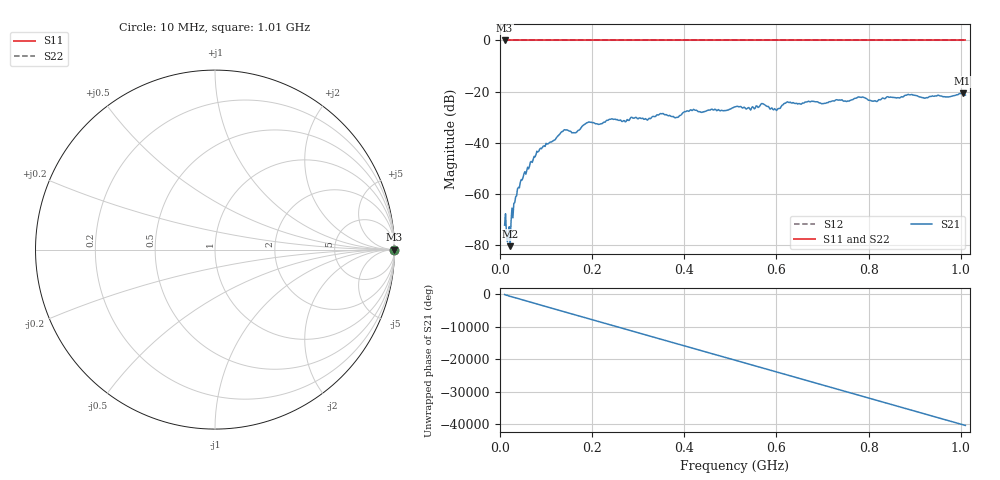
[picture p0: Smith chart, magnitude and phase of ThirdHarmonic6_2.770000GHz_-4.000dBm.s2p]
! 8/17/2025 7:02:24 AM
! C:\ANRITSUVNA\TEMP\TEMP.S2P
! CHANNEL.1
! TR.MEASUREMENT
! RAW.DATA
! RF.CORRECTION.OFF
! AVERAGING.OFF
! IF.BANDWIDTH: 5KHZ
! SWEEPTYPE:  FREQ.SWEEP(Linear)
! Reference Plane Port Info
! PORT:  PORT1  PORT2
! DISTANCE:  0  m  0  m
! TIME:  0  s  0  s
! PHASE.OFFSET:  0  deg.  0  deg.
! LOSS:  0  dB  0  dB
! REF.LOSS:  0  dB  0  dB
! REF.FREQ:  0  Hz  0  Hz
! Power Info
! POWER:  -20  dBm  -20  dBm
! EFF.POWER:  -20  dBm  -20  dBm
! SOURCE.ATTEN:  0  dB  0  dB
! TEST.ATTEN:  0  dB  0  dB
# GHZ S RI R 50.0
! FREQ.GHZ  S11RE  S11IM  S21RE  S21IM  S12RE  S12IM  S22RE  S22IM
!; PortSelection: Port_12
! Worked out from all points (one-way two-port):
!   501 points, 10 MHz to 1.01 GHz, reference 50 ohm
!   highest |S21| = -20.60 dB at 1.004 GHz (marker M1); lowest = -80.4 dB at 22 MHz (marker M2)
!   lowest |S11| = 0.0 dB at 10 MHz (marker M3)
!   |S11| at or under -10 dB: nowhere
!   |S22| runs from 0.0 to 0.0 dB; largest |S21 - S12| = 1.1
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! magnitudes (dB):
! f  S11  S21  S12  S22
! 10 MHz  0.0  -72.2  0.0  0.0
! 18 MHz  0.0  -76.4  0.0  0.0
! 22 MHz  0.0  -80.4  0.0  0.0
! 30 MHz  0.0  -63.7  0.0  0.0
! 42 MHz  0.0  -57.6  0.0  0.0
! 78 MHz  0.0  -44.6  0.0  0.0
! 136 MHz  0.0  -35.6  0.0  0.0
! 162 MHz  0.0  -36.1  0.0  0.0
! 178 MHz  0.0  -33.6  0.0  0.0
! 344 MHz  0.0  -29.1  0.0  0.0
! 382 MHz  0.0  -30.1  0.0  0.0
! 416 MHz  0.0  -27.4  0.0  0.0
! 510 MHz  0.0  -26.0  0.0  0.0
! 570 MHz  0.0  -24.7  0.0  0.0
! 598 MHz  0.0  -27.0  0.0  0.0
! 622 MHz  0.0  -24.1  0.0  0.0
! 678 MHz  0.0  -23.8  0.0  0.0
! 782 MHz  0.0  -22.2  0.0  0.0
! 814 MHz  0.0  -23.5  0.0  0.0
! 844 MHz  0.0  -22.2  0.0  0.0
! 1.004 GHz  0.0  -20.6  0.0  0.0
! 1.01 GHz  0.0  -21.4  0.0  0.0
